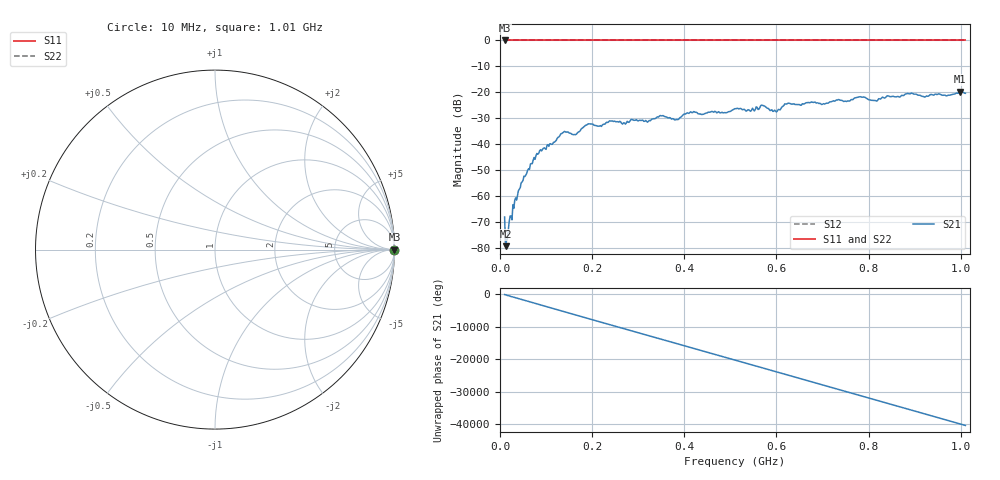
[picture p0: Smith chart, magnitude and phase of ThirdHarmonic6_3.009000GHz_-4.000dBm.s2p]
! 8/17/2025 8:37:30 AM
! C:\ANRITSUVNA\TEMP\TEMP.S2P
! CHANNEL.1
! TR.MEASUREMENT
! RAW.DATA
! RF.CORRECTION.OFF
! AVERAGING.OFF
! IF.BANDWIDTH: 5KHZ
! SWEEPTYPE:  FREQ.SWEEP(Linear)
! Reference Plane Port Info
! PORT:  PORT1  PORT2
! DISTANCE:  0  m  0  m
! TIME:  0  s  0  s
! PHASE.OFFSET:  0  deg.  0  deg.
! LOSS:  0  dB  0  dB
! REF.LOSS:  0  dB  0  dB
! REF.FREQ:  0  Hz  0  Hz
! Power Info
! POWER:  -20  dBm  -20  dBm
! EFF.POWER:  -20  dBm  -20  dBm
! SOURCE.ATTEN:  0  dB  0  dB
! TEST.ATTEN:  0  dB  0  dB
# GHZ S RI R 50.0
! FREQ.GHZ  S11RE  S11IM  S21RE  S21IM  S12RE  S12IM  S22RE  S22IM
!; PortSelection: Port_12
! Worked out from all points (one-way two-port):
!   501 points, 10 MHz to 1.01 GHz, reference 50 ohm
!   highest |S21| = -19.64 dB at 998 MHz (marker M1); lowest = -79.1 dB at 12 MHz (marker M2)
!   lowest |S11| = 0.0 dB at 10 MHz (marker M3)
!   |S11| at or under -10 dB: nowhere
!   |S22| runs from 0.0 to 0.0 dB; largest |S21 - S12| = 1.1
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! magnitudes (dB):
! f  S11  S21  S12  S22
! 10 MHz  0.0  -67.9  0.0  0.0
! 12 MHz  0.0  -79.1  0.0  0.0
! 16 MHz  0.0  -76.3  0.0  0.0
! 24 MHz  0.0  -67.6  0.0  0.0
! 48 MHz  0.0  -54.4  0.0  0.0
! 82 MHz  0.0  -43.7  0.0  0.0
! 136 MHz  0.0  -35.5  0.0  0.0
! 162 MHz  0.0  -36.2  0.0  0.0
! 178 MHz  0.0  -33.8  0.0  0.0
! 194 MHz  0.0  -32.1  0.0  0.0
! 322 MHz  0.0  -31.1  0.0  0.0
! 344 MHz  0.0  -29.5  0.0  0.0
! 382 MHz  0.0  -30.5  0.0  0.0
! 410 MHz  0.0  -28.1  0.0  0.0
! 510 MHz  0.0  -26.2  0.0  0.0
! 570 MHz  0.0  -25.0  0.0  0.0
! 596 MHz  0.0  -26.8  0.0  0.0
! 622 MHz  0.0  -24.5  0.0  0.0
! 678 MHz  0.0  -23.8  0.0  0.0
! 844 MHz  0.0  -21.4  0.0  0.0
! 998 MHz  0.0  -19.6  0.0  0.0
! 1.01 GHz  0.0  -20.3  0.0  0.0
